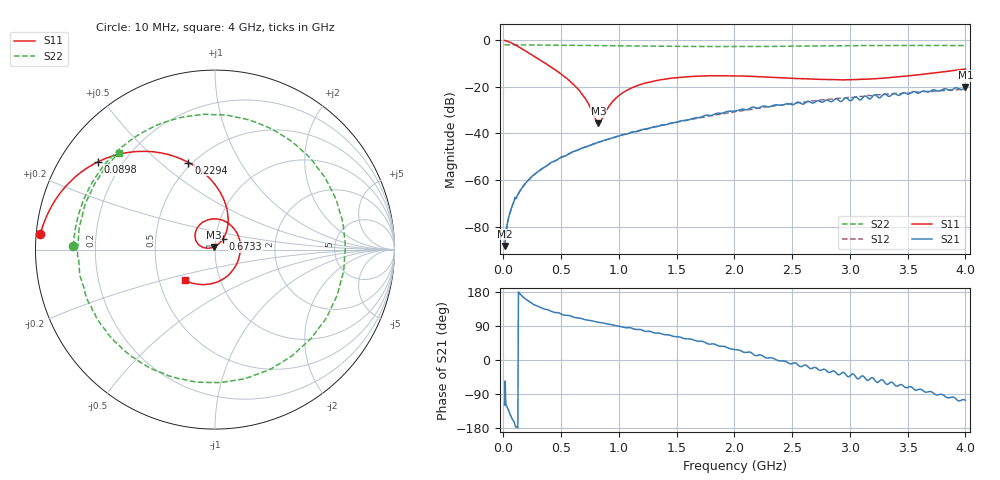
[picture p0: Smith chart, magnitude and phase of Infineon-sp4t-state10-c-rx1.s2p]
! 5/5/2016 5:11:38 PM
! C:\ANRITSUVNA\DATA\INFINEON-SP4T-STATE10-C-RX1.S2P
! CHANNEL.1
! TR.MEASUREMENT
! CORRECTED.DATA
# GHZ S RI R 50.0
! FREQ.GHZ  S11RE  S11IM  S21RE  S21IM  S12RE  S12IM  S22RE  S22IM
!; PortSelection: Port_12
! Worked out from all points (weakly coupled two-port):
!   801 points, 10 MHz to 4 GHz, reference 50 ohm
!   highest |S21| = -20.29 dB at 4 GHz (marker M1); lowest = -88.2 dB at 10 MHz (marker M2)
!   lowest |S11| = -35.6 dB at 823 MHz (marker M3), VSWR 1.03, Z = 49.3 + j1.51 ohm
!   |S11| at or under -10 dB: 362.8 MHz to end of sweep
!   |S22| runs from -2.8 to -2.0 dB; largest |S21 - S12| = 0.012
!   S11 on the Smith chart (normalised r, x): 10 MHz: 0.01, +0.05; 89.8 MHz: 0.11, +0.33; 229.4 MHz: 0.48, +0.62; 673.3 MHz: 1.08, +0.13; 4 GHz: 0.68, -0.25
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0.01  -0.9731 0.0886  -1.86e-05 -3.43e-05  -1.45e-05 -3.56e-05  -0.7918 0.0223
0.02995  -0.9168 0.23  -5.34e-05 -8.28e-05  -6.26e-05 -8.9e-05  -0.7875 0.0415
0.0898  -0.6532 0.4884  -0.000329 -0.000104  -0.000325 -0.000107  -0.7775 0.1192
0.14965  -0.3878 0.5474  -0.000615 8.15e-05  -0.000605 8.12e-05  -0.7601 0.1943
0.22945  -0.1479 0.4851  -0.000966 0.000496  -0.000961 0.000496  -0.7253 0.292
0.4040125  0.0542 0.2662  -0.00147 0.00177  -0.00144 0.00174  -0.6093 0.4802
0.558625  0.0695 0.1252  -0.00163 0.00312  -0.00164 0.00317  -0.4636 0.614
0.6733375  0.0439 0.059  -0.00159 0.00449  -0.00155 0.00446  -0.3375 0.6866
0.678325  0.0423 0.0569  -0.00158 0.00456  -0.00155 0.00452  -0.3319 0.6894
0.8229625  -0.00635 0.0153  -0.00105 0.00631  -0.00109 0.00637  -0.1562 0.7422
0.9326875  -0.0434 0.00787  -0.000474 0.00784  -0.000464 0.00788  -0.0164 0.7524
1.017475  -0.0685 0.0129  0.000275 0.00906  0.000183 0.00908  0.093 0.7439
1.162113  -0.0992 0.0372  0.00183 0.0108  0.00196 0.0112  0.2749 0.6899
1.341662  -0.1113 0.0815  0.00462 0.0135  0.00515 0.0136  0.4731 0.5637
1.690788  -0.0608 0.1563  0.0142 0.0165  0.0144 0.016  0.709 0.1639
2.005  0.0259 0.1681  0.0267 0.0139  0.0256 0.0141  0.6765 -0.2637
2.389038  0.1128 0.1081  0.0402 -0.00155  0.0399 0.00217  0.3225 -0.6583
2.673325  0.1401 0.0397  0.0414 -0.0168  0.0473 -0.0147  -0.0617 -0.7389
2.972575  0.1349 -0.0372  0.0428 -0.0381  0.046 -0.0356  -0.4453 -0.6081
3.336663  0.0883 -0.1285  0.0286 -0.055  0.0292 -0.0629  -0.7259 -0.2287
3.625938  0.00198 -0.1837  0.0153 -0.0785  0.00793 -0.0767  -0.7529 0.1372
4  -0.1665 -0.172  -0.0275 -0.0928  -0.0313 -0.0811  -0.5368 0.5392
